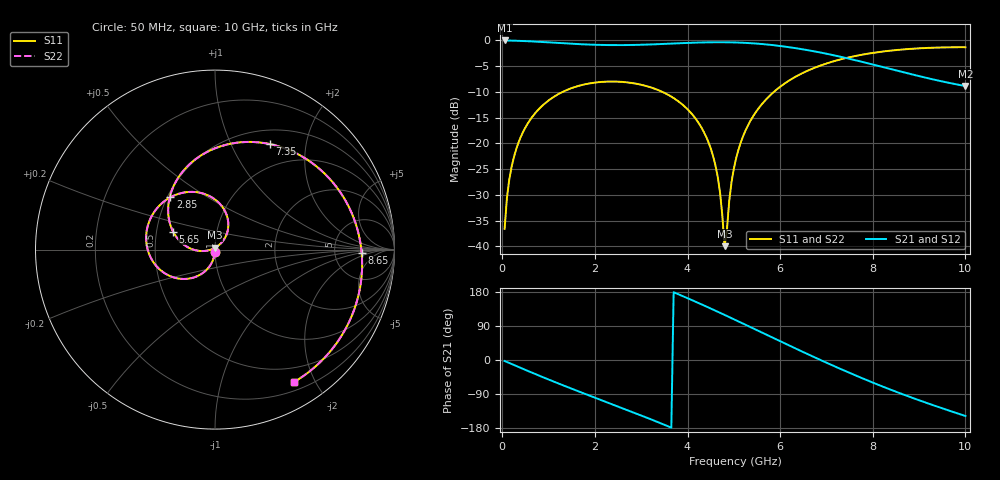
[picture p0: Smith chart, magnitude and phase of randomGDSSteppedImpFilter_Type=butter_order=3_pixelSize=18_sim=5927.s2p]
! freq	dB(S11)	phase(S11)	dB(S12)	phase(S12)
!  dB(S21)	phase(S21)	dB(S22)	phase(S22)
!S-par simulation data
#  GHz  S  DB  R 50
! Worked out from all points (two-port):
!   200 points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, 50 MHz to 10 GHz, reference 50 ohm
!   highest |S21| = 0.00 dB at 50 MHz (marker M1); lowest = -8.9 dB at 10 GHz (marker M2)
!   |S21| within 3 dB of the highest: start of sweep to 7.221 GHz
!   lowest |S11| = -39.9 dB at 4.8 GHz (marker M3), VSWR 1.02, Z = 49.9 + j0.994 ohm
!   |S11| at or under -10 dB: start of sweep to 1.3 GHz; 3.46 GHz to 5.863 GHz (2.403 GHz wide, 51.5 % of centre)
!   |S22| runs from -40.0 to -1.3 dB; largest |S21 - S12| = 0
!   S11 on the Smith chart (normalised r, x): 50 MHz: 1.00, -0.03; 2.85 GHz: 0.52, +0.35; 5.65 GHz: 0.61, +0.13; 7.35 GHz: 0.68, +1.42; 8.65 GHz: 9.82, -1.15; 10 GHz: 0.30, -1.72
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0.05  -36.57 -92.5  -0.00 -2.7  -0.00 -2.7  -36.57 -92.5
0.1  -30.56 -95.3  -0.01 -5.3  -0.01 -5.3  -30.56 -95.3
0.2  -24.58 -100.8  -0.03 -10.6  -0.03 -10.6  -24.58 -100.8
0.5  -16.88 -116.7  -0.13 -26.2  -0.13 -26.2  -16.88 -116.7
1.1  -11.02 -147.0  -0.43 -56.5  -0.43 -56.5  -11.02 -147.0
1.75  -8.59 -178.3  -0.76 -87.7  -0.76 -87.7  -8.59 -178.3
2.85  -8.34 130.4  -0.87 -139.2  -0.87 -139.2  -8.34 130.4
3.4  -9.76 104.0  -0.71 -165.9  -0.71 -165.9  -9.76 103.9
3.95  -12.93 76.5  -0.50 165.8  -0.50 165.8  -12.93 76.5
4.45  -19.72 52.2  -0.36 138.7  -0.36 138.7  -19.72 52.1
4.65  -26.38 46.7  -0.34 127.5  -0.34 127.5  -26.38 46.6
4.8  -39.94 97.8  -0.35 119.0  -0.35 119.0  -39.98 97.5
4.95  -27.51 -172.8  -0.37 110.4  -0.37 110.4  -27.51 -172.8
5.05  -22.85 -173.5  -0.40 104.7  -0.40 104.7  -22.85 -173.5
5.65  -11.90 156.8  -0.73 69.9  -0.73 69.9  -11.91 156.8
6.2  -7.75 125.9  -1.32 38.0  -1.32 38.0  -7.75 125.8
6.7  -5.46 97.8  -2.05 9.5  -2.05 9.5  -5.46 97.7
7.35  -3.57 62.6  -3.26 -26.1  -3.26 -26.1  -3.57 62.5
8.35  -2.01 12.5  -5.47 -76.6  -5.47 -76.6  -2.01 12.4
8.65  -1.75 -1.4  -6.15 -90.6  -6.15 -90.6  -1.75 -1.5
9.3  -1.41 -29.9  -7.56 -119.1  -7.56 -119.1  -1.41 -30.0
10  -1.32 -59.2  -8.86 -147.7  -8.86 -147.7  -1.32 -59.3
